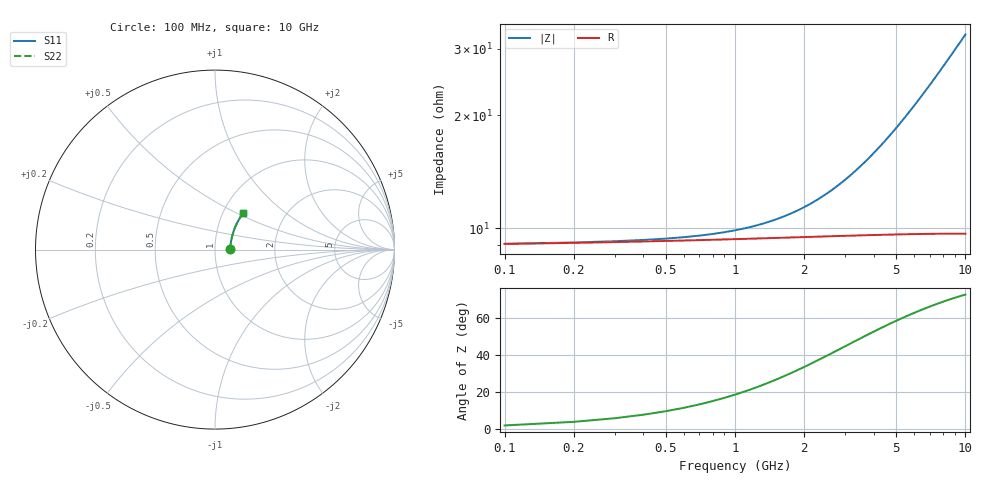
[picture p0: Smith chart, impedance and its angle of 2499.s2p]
# Hz S RI R 50.00
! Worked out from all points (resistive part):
!   100 points, 100 MHz to 10 GHz, reference 50 ohm
!   read as one part in series: R = 9.07 ohm at 100 MHz
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1e8  0.0832 0.00227  0.9168 -0.00303  0.9168 -0.00303  0.0832 0.00227
6e8  0.085 0.0136  0.915 -0.0181  0.915 -0.0181  0.085 0.0136
8e8  0.0856 0.0181  0.9144 -0.0241  0.9144 -0.0241  0.0856 0.0181
1e9  0.0862 0.0226  0.9138 -0.0302  0.9138 -0.0302  0.0862 0.0226
1.2e9  0.0868 0.027  0.9132 -0.0362  0.9132 -0.0362  0.0868 0.027
1.4e9  0.0874 0.0315  0.9126 -0.0421  0.9126 -0.0421  0.0874 0.0315
1.8e9  0.0887 0.0404  0.9112 -0.0541  0.9112 -0.0541  0.0887 0.0404
2.1e9  0.0898 0.0471  0.91 -0.063  0.91 -0.063  0.0898 0.0471
2.4e9  0.091 0.0537  0.9088 -0.0719  0.9088 -0.0719  0.091 0.0537
3.4e9  0.0959 0.0756  0.9037 -0.1014  0.9037 -0.1014  0.0959 0.0756
4.3e9  0.1013 0.0949  0.8981 -0.1275  0.8981 -0.1275  0.1013 0.0949
5.1e9  0.107 0.1117  0.8921 -0.1504  0.8921 -0.1504  0.107 0.1117
5.5e9  0.1102 0.1199  0.8889 -0.1617  0.8889 -0.1617  0.1102 0.1199
5.9e9  0.1135 0.1281  0.8854 -0.1729  0.8854 -0.1729  0.1135 0.1281
6.3e9  0.1171 0.1361  0.8817 -0.184  0.8817 -0.184  0.1171 0.1361
6.7e9  0.1208 0.144  0.8778 -0.1949  0.8778 -0.1949  0.1208 0.144
7.1e9  0.1247 0.1518  0.8737 -0.2058  0.8737 -0.2058  0.1247 0.1518
7.5e9  0.1289 0.1595  0.8694 -0.2165  0.8694 -0.2165  0.1289 0.1595
7.9e9  0.1331 0.167  0.8649 -0.2271  0.8649 -0.2271  0.1331 0.167
8.4e9  0.1387 0.1762  0.8591 -0.2401  0.8591 -0.2401  0.1387 0.1762
9.2e9  0.1482 0.1905  0.8492 -0.2605  0.8492 -0.2605  0.1482 0.1905
1e10  0.1583 0.2041  0.8386 -0.2803  0.8386 -0.2803  0.1583 0.2041
